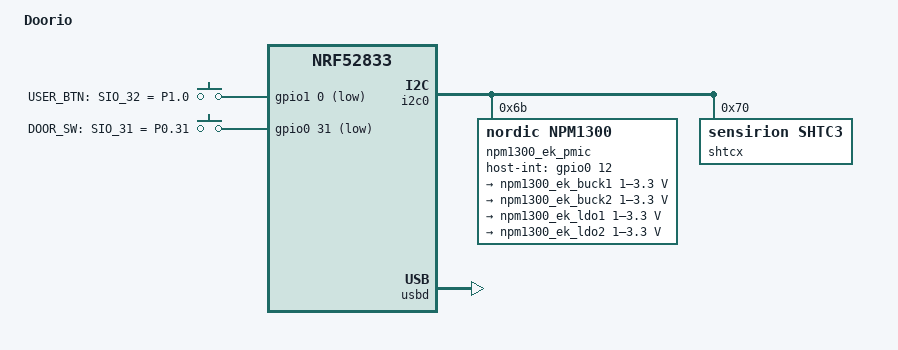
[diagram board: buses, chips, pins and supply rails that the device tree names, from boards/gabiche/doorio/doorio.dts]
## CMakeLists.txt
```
# Copyright (c) 2023 Nordic Semiconductor ASA
# SPDX-License-Identifier: LicenseRef-Nordic-5-Clause

cmake_minimum_required(VERSION 3.20.0)

# set(SHIELD npm1300_ek)

find_package(Zephyr REQUIRED HINTS $ENV{ZEPHYR_BASE})

project(doorio)

add_subdirectory(src)
```

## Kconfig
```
# SPDX-License-Identifier: Apache-2.0
#
# This Kconfig file is picked by the Zephyr build system because it is defined
# as the module Kconfig entry point (see zephyr/module.yml). You can browse
# module options by going to Zephyr -> Modules in Kconfig.
```

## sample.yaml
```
# Copyright (c) 2023 Nordic Semiconductor ASA
# SPDX-License-Identifier: LicenseRef-Nordic-5-Clause
sample:
  name: nPM1300 one button

common:
  integration_platforms:
    - nrf52dk_nrf52832
    - nrf52840dk_nrf52840
    - nrf5340dk_nrf5340_cpuapp
    - nrf9160dk_nrf9160
  platform_allow: nrf52dk_nrf52832 nrf52840dk_nrf52840 nrf5340dk_nrf5340_cpuapp nrf9160dk_nrf9160
  tags: pmic

tests:
  samples.npm1300_one_button:
    platform_allow: nrf52dk_nrf52832 nrf52840dk_nrf52840 nrf5340dk_nrf5340_cpuapp
    harness: console
    harness_config:
      fixture: nPM1300_setup_eng_b
      type: multi_line
      ordered: true
      regex:
        - "PMIC device ok"

  samples.npm1300_one_button_compile:
    platform_allow: nrf9160dk_nrf9160
    harness: shield
    tags: shield
    extra_args: SHIELD=npm1300_ek
```

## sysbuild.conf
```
SB_CONFIG_BOOTLOADER_MCUBOOT=y
# SB_CONFIG_MCUBOOT_MODE_SINGLE_APP=n
```

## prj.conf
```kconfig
# Copyright (c) 2023 Nordic Semiconductor ASA
# SPDX-License-Identifier: LicenseRef-Nordic-5-Clause
CONFIG_GPIO=y
CONFIG_LED=y
CONFIG_REGULATOR=y
CONFIG_SENSOR=y
CONFIG_I2C=y

# https://docs.zephyrproject.org/latest/services/pm/index.html
# https://docs.zephyrproject.org/latest/services/pm/device.html
CONFIG_PM=y
CONFIG_PM_DEVICE=y
# CONFIG_PM_DEVICE_RUNTIME=y
CONFIG_POWEROFF=y

# CONFIG_NRF_FUEL_GAUGE=y

CONFIG_LOG=y
CONFIG_CBPRINTF_FP_SUPPORT=y
# CONFIG_MAIN_STACK_SIZE=2048

# CONFIG_SHELL=y
# CONFIG_I2C_SHELL=y

CONFIG_STDOUT_CONSOLE=y
CONFIG_USB_DEVICE_STACK=y
CONFIG_USB_DEVICE_INITIALIZE_AT_BOOT=n
CONFIG_UART_LINE_CTRL=y
CONFIG_USB_DEVICE_PRODUCT="basement"
CONFIG_USB_DEVICE_MANUFACTURER="denerd"
CONFIG_USB_DEVICE_PID=0x00310
CONFIG_USB_DRIVER_LOG_LEVEL_ERR=y
CONFIG_USB_DEVICE_LOG_LEVEL_ERR=y

CONFIG_BT_DEVICE_NAME="basement"
CONFIG_BT=y
CONFIG_BT_PERIPHERAL=y
# CONFIG_BT_EXT_ADV=y

# Enable MCUMGR 
CONFIG_MCUMGR=y

# MCUMGR over Bluetooth "all in one" option
CONFIG_NCS_SAMPLE_MCUMGR_BT_OTA_DFU=y
```

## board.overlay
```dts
/*
 * Copyright (c) 2023 Nordic Semiconductor ASA
 *
 * SPDX-License-Identifier: LicenseRef-Nordic-5-Clause
 */

// #include <dt-bindings/regulator/npm1300.h>

/ {
	// https: //devzone.nordicsemi.com/f/nordic-q-a/108807/nrf5340-zephyr-cannot-disable-led-node
	aliases {
		sw0 = &button1;
		sw1 = &button2;
		/delete-property/ led2;
		/delete-property/ led3;
		/delete-property/ mcuboot-led0;
	};
	chosen {
		zephyr,console = &cdc_acm_uart;
	};
	// /delete-node/ leds;
};

&led1 {
	gpios = <&gpio0 14 GPIO_ACTIVE_HIGH>;
};


&i2c0 {
	shtcx: shtc3@70 {
		compatible = "sensirion,shtc3", "sensirion,shtcx";
		reg = <0x70>;
		measure-mode = "normal";
		clock-stretching;
	};
};

// &i2c0_default {
	//     group1 {
		//         bias-pull-up;
	//     };
// };

&zephyr_udc0 {
	cdc_acm_uart: cdc_acm_uart0 {
		compatible = "zephyr,cdc-acm-uart";
		status = "okay";
	};
};

// USER_BTN: SIO_32 = P1.0
&button1 {
	gpios = <&gpio1 0 GPIO_ACTIVE_LOW>;
};

// DOOR_SW: SIO_31 = P0.31
&button2 {
	gpios = <&gpio0 31 (GPIO_ACTIVE_LOW | GPIO_PULL_UP)>;
	// gpios = <&gpio0 31 (GPIO_ACTIVE_HIGH | GPIO_PULL_UP)>;
};

&gpio0 {
	wakeup-source;
};

&gpio1 {
	wakeup-source;
};
```

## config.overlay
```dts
/*
 * Copyright (C) 2023 Nordic Semiconductor ASA
 * SPDX-License-Identifier: Apache-2.0
 */

#include <dt-bindings/regulator/npm1300.h>
#include <zephyr/dt-bindings/input/input-event-codes.h>

&i2c0 {
    npm1300_ek_pmic: pmic@6b {
        compatible = "nordic,npm1300";
        reg = <0x6b>;

        host-int-gpios = <&gpio0 12 0>;
        pmic-int-pin = <1>;
        // long-press-reset = "one-button";
        // ship-to-active-time = <96>;


        npm1300_ek_gpio: gpio-controller {
            compatible = "nordic,npm1300-gpio";
            gpio-controller;
            #gpio-cells = <2>;
            ngpios = <5>;
        };

        npm1300_ek_regulators: regulators {
            compatible = "nordic,npm1300-regulator";


            npm1300_ek_buck1: BUCK1 {
                regulator-min-microvolt = <1000000>;
                regulator-max-microvolt = <3300000>;

                retention-microvolt = <1000000>;
            };

            npm1300_ek_buck2: BUCK2 {
                regulator-min-microvolt = <1000000>;
                regulator-max-microvolt = <3300000>;

                retention-microvolt = <3000000>;
            };



            npm1300_ek_ldo1: LDO1 {
                regulator-initial-mode = <NPM1300_LDSW_MODE_LDSW>;

                regulator-min-microvolt = <1000000>;
                regulator-max-microvolt = <3300000>;
                // soft-start-microamp = <20000>;
            };



            npm1300_ek_ldo2: LDO2 {
                regulator-min-microvolt = <1000000>;
                regulator-max-microvolt = <3300000>;
                regulator-initial-mode = <NPM1300_LDSW_MODE_LDSW>;
                // soft-start-microamp = <20000>;
            };

        };


        npm1300_ek_charger: charger {
            compatible = "nordic,npm1300-charger";
            term-microvolt = <4200000>;
            term-warm-microvolt = <4000000>;
            // term-current-percent = <10>;
            current-microamp = <100000>;
            // trickle-microvolt = <2500000>;
            dischg-limit-microamp = <1340000>;
            vbus-limit-microamp = <100000>;
            thermistor-ohms = <10000>;
            thermistor-beta = <3380>;
            // disable-recharge;
            charging-enable;
        };


        npm1300_ek_leds: leds {
            compatible = "nordic,npm1300-led";
            nordic,led0-mode = "host";
            nordic,led1-mode = "charging";
            nordic,led2-mode = "host";
        };

    };
};
```

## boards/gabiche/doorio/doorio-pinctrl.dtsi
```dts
&pinctrl {
    uart0_default: uart0_default {
        group1 {
            psels = <NRF_PSEL(UART_TX, 0, 6)>,
                    <NRF_PSEL(UART_RX, 0, 8)>,
                    <NRF_PSEL(UART_RTS, 0, 5)>,
                    <NRF_PSEL(UART_CTS, 0, 7)>;
        };
    };

    uart0_sleep: uart0_sleep {
        group1 {
            psels = <NRF_PSEL(UART_TX, 0, 6)>,
                    <NRF_PSEL(UART_RX, 0, 8)>,
                    <NRF_PSEL(UART_RTS, 0, 5)>,
                    <NRF_PSEL(UART_CTS, 0, 7)>;
            low-power-enable;
        };
    };

    i2c0_default: i2c0_default {
        group1 {
            psels = <NRF_PSEL(TWIM_SDA, 0, 26)>,
                    <NRF_PSEL(TWIM_SCL, 0, 27)>;
        };
    };

    i2c0_sleep: i2c0_sleep {
        group1 {
            psels = <NRF_PSEL(TWIM_SDA, 0, 26)>,
                    <NRF_PSEL(TWIM_SCL, 0, 27)>;
            low-power-enable;
        };
    };
};
```

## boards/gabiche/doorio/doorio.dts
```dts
/dts-v1/;
#include <nordic/nrf52833_qiaa.dtsi>
#include "doorio-pinctrl.dtsi"

#include <dt-bindings/regulator/npm1300.h>
#include <zephyr/dt-bindings/input/input-event-codes.h>

/ {
	model = "Doorio";
	compatible = "gabiche,doorio";

	chosen {
		zephyr,console = &cdc_acm_uart;
		zephyr,uart-mcumgr = &cdc_acm_uart;

		zephyr,sram = &sram0;
		zephyr,flash = &flash0;
		zephyr,code-partition = &slot0_partition;
	};

	// leds {
		//     compatible = "gpio-leds";

		//     led1: led_1 {
			//         gpios = <&gpio0 14 GPIO_ACTIVE_HIGH>;
			//         label = "LED 1";
		//     };
	// };

	buttons {
		compatible = "gpio-keys";

		sw0: button_1 {
			gpios = <&gpio1 0 GPIO_ACTIVE_LOW>;
			label = "USER_BTN: SIO_32 = P1.0";
			zephyr,code = <INPUT_KEY_0>;
		};

		sw1: button_2 {
			gpios = <&gpio0 31 (GPIO_ACTIVE_LOW | GPIO_PULL_UP)>;
			label = "DOOR_SW: SIO_31 = P0.31";
			zephyr,code = <INPUT_KEY_1>;
		};

	};
};

&gpiote {
	status = "okay";
};

&gpio0 {
	status = "okay";
	wakeup-source;
};

&gpio1 {
	status = "okay";

};


&uart0 {
	compatible = "nordic,nrf-uart";
	current-speed = <115200>;
	status = "disabled";
	pinctrl-0 = <&uart0_default>;
	pinctrl-1 = <&uart0_sleep>;
	pinctrl-names = "default", "sleep";
};

&i2c0 {
	compatible = "nordic,nrf-twi";
	status = "okay";

	pinctrl-0 = <&i2c0_default>;
	pinctrl-1 = <&i2c0_sleep>;
	pinctrl-names = "default", "sleep";


	npm1300_ek_pmic: pmic@6b {
		compatible = "nordic,npm1300";
		reg = <0x6b>;
		// zephyr,pm-device-runtime-auto;

		host-int-gpios = <&gpio0 12 0>;
		pmic-int-pin = <1>;
		/* The driver defaults to "one-button", where holding SHPHLD low
		 * for ~10 s power-cycles every rail. */
		long-press-reset = "disabled";
		// ship-to-active-time = <96>;


		npm1300_ek_gpio: gpio-controller {
			compatible = "nordic,npm1300-gpio";
			gpio-controller;
			#gpio-cells = <2>;
			ngpios = <5>;
		};

		npm1300_ek_regulators: regulators {
			compatible = "nordic,npm1300-regulator";


			npm1300_ek_buck1: BUCK1 {
				regulator-min-microvolt = <1000000>;
				regulator-max-microvolt = <3300000>;

				retention-microvolt = <1000000>;
			};

			npm1300_ek_buck2: BUCK2 {
				regulator-min-microvolt = <1000000>;
				regulator-max-microvolt = <3300000>;

				retention-microvolt = <3000000>;
			};



			npm1300_ek_ldo1: LDO1 {
				regulator-initial-mode = <NPM1300_LDSW_MODE_LDSW>;

				regulator-min-microvolt = <1000000>;
				regulator-max-microvolt = <3300000>;
				// soft-start-microamp = <20000>;
			};



			npm1300_ek_ldo2: LDO2 {
				regulator-min-microvolt = <1000000>;
				regulator-max-microvolt = <3300000>;
				regulator-initial-mode = <NPM1300_LDSW_MODE_LDSW>;
				// soft-start-microamp = <20000>;
				/* Load switch feeding the buzzer: force it off at boot in
				 * case it was left on. */
				regulator-boot-off;
			};

		};


		npm1300_ek_charger: charger {
			compatible = "nordic,npm1300-charger";
			term-microvolt = <4200000>;
			term-warm-microvolt = <4000000>;
			// term-current-percent = <10>;
			current-microamp = <100000>;
			// trickle-microvolt = <2500000>;
			dischg-limit-microamp = <1340000>;
			vbus-limit-microamp = <100000>;
			thermistor-ohms = <10000>;
			thermistor-beta = <3380>;
			// disable-recharge;
			charging-enable;
		};


		npm1300_ek_leds: leds {
			compatible = "nordic,npm1300-led";
			nordic,led0-mode = "host";
			nordic,led1-mode = "charging";
			nordic,led2-mode = "host";
		};

	};

	shtcx: shtc3@70 {
		compatible = "sensirion,shtc3", "sensirion,shtcx";
		reg = <0x70>;
		measure-mode = "normal";
		clock-stretching;
	};
};

zephyr_udc0: &usbd {
	compatible = "nordic,nrf-usbd";
	status = "okay";

	cdc_acm_uart: cdc_acm_uart0 {
		compatible = "zephyr,cdc-acm-uart";
		status = "okay";
	};
};

&flash0 {
	partitions {
		compatible = "fixed-partitions";
		#address-cells = <1>;
		#size-cells = <1>;

		boot_partition: partition@0 {
			label = "mcuboot";
			reg = <0x00000000 DT_SIZE_K(48)>;
		};

		slot0_partition: partition@c000 {
			label = "image-0";
			reg = <0x0000c000 DT_SIZE_K(220)>;
		};

		slot1_partition: partition@43000 {
			label = "image-1";
			reg = <0x00043000 DT_SIZE_K(220)>;
		};

		storage_partition: partition@7a000 {
			label = "storage";
			reg = <0x0007a000 DT_SIZE_K(24)>;
		};
	};
};
```

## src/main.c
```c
/*
 * Basement temperature and humidity sensor.
 *
 * Reads the SHTC3 every MEASUREMENT_INTERVAL and republishes the result as a
 * BTHome v2 advertisement for Home Assistant. Advertising stays connectable so
 * that OTA DFU remains available at any time.
 */

#include <stdlib.h>
#include <zephyr/device.h>
#include <zephyr/dfu/mcuboot.h>
#include <zephyr/drivers/gpio.h>
#include <zephyr/drivers/hwinfo.h>
#include <zephyr/drivers/led.h>
#include <zephyr/drivers/mfd/npm1300.h>
#include <zephyr/drivers/regulator.h>
#include <zephyr/drivers/sensor.h>
#include <zephyr/drivers/sensor/npm1300_charger.h>
#include <zephyr/dt-bindings/regulator/npm1300.h>
#include <zephyr/kernel.h>
#include <zephyr/pm/pm.h>
#include <zephyr/pm/policy.h>
#include <zephyr/sys/printk.h>
#include <zephyr/sys/util.h>
#include <zephyr/usb/usb_device.h>
#include <zephyr/usb/usbd.h>

#include "bluetooth.h"
#include "charger.h"
#include "redef.h"

#define PWR_BTN_MS 1000

/* How often the SHTC3 is read and the advertisement refreshed. A basement does
 * not move fast, so this is mostly a battery-life knob. */
#define MEASUREMENT_INTERVAL K_MINUTES(5)

// For LEDs, check config.overlay: only controllable if mode = "host"
#define NPM_RED_LED 0
#define NPM_BLUE_LED 1
#define NPM_GREEN_LED 2

// ===================== Devicetree nodes ======================

const struct device* pmic = DEVICE_DT_GET(DT_NODELABEL(npm1300_ek_pmic));
const struct device* leds = DEVICE_DT_GET(DT_NODELABEL(npm1300_ek_leds));
const struct device* regulators =
    DEVICE_DT_GET(DT_NODELABEL(npm1300_ek_regulators));
const struct device* charger = DEVICE_DT_GET(DT_NODELABEL(npm1300_ek_charger));
const struct device* sht = DEVICE_DT_GET(DT_NODELABEL(shtcx));
struct gpio_dt_spec user_btn = GPIO_DT_SPEC_GET(DT_NODELABEL(sw0), gpios);

volatile bool vbus_connected;

/* Given by the user button to force a reading without waiting out the
 * interval, which is handy when checking the sensor against a reference. */
static K_SEM_DEFINE(measure_now, 0, 1);
static struct gpio_callback user_btn_cb_data;

// ===================== Charger configuration ======================

void npm_event_cb(const struct device* dev, struct gpio_callback* cb,
                  uint32_t pins) {
  static int press_t;

  if (pins & BIT(NPM1300_EVENT_SHIPHOLD_PRESS)) {
    printk("Power button pressed\n");
    press_t = k_uptime_get();
  }

  if (pins & BIT(NPM1300_EVENT_SHIPHOLD_RELEASE)) {
    press_t = k_uptime_get() - press_t;

    if (press_t > PWR_BTN_MS) {
      if (vbus_connected) {
        printk("Ship mode entry not possible with USB connected\n");
      } else {
        // regulator_parent_ship_mode(regulators);
      }
      printk("Short press\n");
    }
  }

  if (pins & BIT(NPM1300_EVENT_VBUS_DETECTED)) {
    printk("Vbus connected\n");
    led_on(leds, NPM_RED_LED);
    vbus_connected = true;
    int ret = usb_enable(NULL);
    if (ret != 0) {
      printk("Failed to enable USB\n");
    }
  }

  if (pins & BIT(NPM1300_EVENT_VBUS_REMOVED)) {
    printk("Vbus removed\n");
    led_off(leds, NPM_RED_LED);
    vbus_connected = false;
    usb_disable();
  }
}

bool configure_events(void) {
  if (!device_is_ready(pmic)) {
    printk("Pmic device not ready.\n");
    return false;
  }

  if (!device_is_ready(regulators)) {
    printk("Regulator device not ready.\n");
    return false;
  }

  if (!device_is_ready(charger)) {
    printk("Charger device not ready.\n");
    return false;
  }

  const struct npm1300_charger_config* const config = charger->config;

  int ret = mfd_npm1300_reg_write(config->mfd, 0x03, 0x06, 2);
  if (ret != 0) {
    printk("Failed to disable charger thermal monitoring\n");
  }

  static struct gpio_callback event_cb;

  gpio_init_callback(
      &event_cb, npm_event_cb,
      BIT(NPM1300_EVENT_SHIPHOLD_PRESS) | BIT(NPM1300_EVENT_SHIPHOLD_RELEASE) |
          BIT(NPM1300_EVENT_VBUS_DETECTED) | BIT(NPM1300_EVENT_VBUS_REMOVED));

  mfd_npm1300_add_callback(pmic, &event_cb);

  /* Initialise vbus detection status */
  struct sensor_value val;
  ret = sensor_attr_get(charger, SENSOR_CHAN_CURRENT, SENSOR_ATTR_UPPER_THRESH,
                        &val);

  if (ret < 0) {
    return false;
  }

  vbus_connected = (val.val1 != 0) || (val.val2 != 0);
  printk("Vbus connected: %d\n", vbus_connected);

  if (vbus_connected) {
    led_on(leds, NPM_RED_LED);
    usb_enable(NULL);
  }

  return true;
}

// ===================== Reset diagnostics ======================

/* nPM1300 ERRLOG block, from the nPM1300 product specification. RSTCAUSE
 * survives the PMIC's own power cycle and says why it restarted the rails. */
#define NPM1300_ERRLOG_BASE 0x0EU
#define NPM1300_ERRLOG_TASKCLR 0x00U
#define NPM1300_ERRLOG_RSTCAUSE 0x03U

static void print_reset_cause(void) {
  uint32_t cause = 0;

  /* The nRF only sees its own side: a PMIC power cycle shows up here as a
   * power-on or brownout reset, hence the PMIC log below. */
  if (hwinfo_get_reset_cause(&cause) == 0) {
    printk("nRF reset cause 0x%08x:%s%s%s%s%s%s\n", cause,
           (cause & RESET_PIN) ? " pin" : "",
           (cause & RESET_SOFTWARE) ? " software" : "",
           (cause & RESET_BROWNOUT) ? " brownout" : "",
           (cause & RESET_POR) ? " power-on" : "",
           (cause & RESET_WATCHDOG) ? " watchdog" : "",
           (cause & RESET_CPU_LOCKUP) ? " lockup" : "");
    hwinfo_clear_reset_cause();
  }

  uint8_t rst;
  if (mfd_npm1300_reg_read(pmic, NPM1300_ERRLOG_BASE, NPM1300_ERRLOG_RSTCAUSE,
                           &rst) == 0) {
    printk("nPM1300 reset cause 0x%02x:%s%s%s%s%s%s%s\n", rst,
           (rst & BIT(0)) ? " ship-exit" : "",
           (rst & BIT(1)) ? " boot-monitor" : "",
           (rst & BIT(2)) ? " watchdog" : "",
           (rst & BIT(3)) ? " long-press" : "",
           (rst & BIT(4)) ? " thermal" : "",
           (rst & BIT(5)) ? " vsys-low" : "",
           (rst & BIT(6)) ? " software" : "");
    mfd_npm1300_reg_write(pmic, NPM1300_ERRLOG_BASE, NPM1300_ERRLOG_TASKCLR,
                          1U);
  } else {
    printk("nPM1300 reset cause unreadable\n");
  }
}

// ===================== Measurement ======================

static void user_btn_pressed(const struct device* dev,
                             struct gpio_callback* cb, uint32_t pins) {
  k_sem_give(&measure_now);
}

static bool measure_and_publish(void) {
  struct sensor_value temp, hum;
  bool ok = false;

  /* The activity LED is only worth its current draw while on USB; on battery
   * it would be a few mA for nobody to see in a dark basement. */
  if (vbus_connected) {
    led_on(leds, NPM_GREEN_LED);
  }

  int err = sensor_sample_fetch(sht);
  if (err) {
    printk("Failed to fetch data from SHT sensor (%d)\n", err);
  } else {
    err = sensor_channel_get(sht, SENSOR_CHAN_AMBIENT_TEMP, &temp);
    if (err) {
      printk("Failed to read temperature channel (%d)\n", err);
    }
    err = sensor_channel_get(sht, SENSOR_CHAN_HUMIDITY, &hum);
    if (err) {
      printk("Failed to read humidity channel (%d)\n", err);
    }

    double ftemp = sensor_value_to_double(&temp);
    double fhumd = sensor_value_to_double(&hum);
    int soc = charger_get_soc(charger);
    if (soc < 0) {
      soc = 0;
    }

    printf("SHT: %.2f Cel; %.2f %%RH; SoC %d %%\n", ftemp, fhumd, soc);

    bt_update_all(ftemp, fhumd, vbus_connected, (uint8_t)soc);
    ok = (bt_publish() == 0);
  }

  if (vbus_connected) {
    led_off(leds, NPM_GREEN_LED);
  }

  return ok;
}

// ===================== Main code ======================

int main(void) {
  int ret;

  printk("Initializing...\n");
  print_reset_cause();

  ret = ble_init();
  if (ret) {
    printk("Failed to initialize BLE (%d)\n", ret);
    return 0;
  }

  if (!device_is_ready(leds)) {
    printk("Error: led device is not ready\n");
    return 0;
  }

  // FOR CHARGING:
  // https://devzone.nordicsemi.com/f/nordic-q-a/105379/npm1300-is-not-charging---is-ntc-to-gnd-the-reason
  if (!configure_events()) {
    printk("Error: could not configure PMIC\n");
    return 0;
  }

  if (!gpio_is_ready_dt(&user_btn)) {
    printk("Error: button device %s is not ready\n", user_btn.port->name);
    return 0;
  }

  if (!device_is_ready(sht)) {
    printk("Device %s is not ready\n", sht->name);
    return 0;
  }

  // ========= User Button =========
  ret = gpio_pin_configure_dt(&user_btn, GPIO_INPUT);
  if (ret != 0) {
    printk("Error %d: failed to configure %s pin %d\n", ret,
           user_btn.port->name, user_btn.pin);
    return 0;
  }

  ret = gpio_pin_interrupt_configure_dt(&user_btn, GPIO_INT_EDGE_TO_ACTIVE);
  if (ret != 0) {
    printk("Error %d: failed to configure interrupt on %s pin %d\n", ret,
           user_btn.port->name, user_btn.pin);
    return 0;
  }

  gpio_init_callback(&user_btn_cb_data, user_btn_pressed, BIT(user_btn.pin));
  gpio_add_callback(user_btn.port, &user_btn_cb_data);

  for (int i = 0; i < 3; i++) {
    led_on(leds, NPM_GREEN_LED);
    k_msleep(250);
    led_off(leds, NPM_GREEN_LED);
    k_msleep(250);
  }

  /* Publish once straight away so Home Assistant does not have to wait a full
   * interval to discover the device. */
  bool first_reading_ok = measure_and_publish();

  /* An image installed over DFU boots in the "test" state, and MCUboot swaps
   * the previous one back on the next reset unless it is confirmed. Confirm
   * only after a reading has actually gone out over the air, so a build that
   * cannot read the sensor or advertise still rolls itself back. */
  if (first_reading_ok && !boot_is_img_confirmed()) {
    ret = boot_write_img_confirmed();
    if (ret) {
      printk("Failed to confirm image (%d)\n", ret);
    } else {
      printk("Image confirmed, rollback disarmed\n");
    }
  }

  while (1) {
    /* Wakes early on a button press, otherwise once per interval. Either way
     * the next thing to do is take a reading. */
    k_sem_take(&measure_now, MEASUREMENT_INTERVAL);
    measure_and_publish();
  }
}
```

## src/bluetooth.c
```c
/*
 * Copyright (c) 2023 Nordic Semiconductor ASA
 *
 * SPDX-License-Identifier: Apache-2.0
 */

#include "bluetooth.h"

#include <zephyr/bluetooth/bluetooth.h>
#include <zephyr/bluetooth/conn.h>
#include <zephyr/bluetooth/hci.h>
#include <zephyr/bluetooth/uuid.h>
#include <zephyr/sys/byteorder.h>

#define SERVICE_UUID 0xfcd2 /* BTHome service UUID */

/* BTHome v2 object ids, kept in ascending order inside the payload as the
 * specification recommends. */
#define BTHOME_ID_PACKET 0x00
#define BTHOME_ID_BATTERY 0x01
#define BTHOME_ID_TEMP 0x02
#define BTHOME_ID_HUMIDITY 0x03
#define BTHOME_ID_CHARGING 0x16

#define IDX_PACKET 4    /* Packet id counter */
#define IDX_BATT 6      /* State of charge, percent */
#define IDX_TEMP 8      /* Temperature, little endian sint16 */
#define IDX_HUMD 11     /* Humidity, little endian uint16 */
#define IDX_CHARGING 14 /* Charging state */

static uint8_t service_data[] = {
    BT_UUID_16_ENCODE(SERVICE_UUID),
    0x40, /* BTHome v2, unencrypted, regular updates */
    BTHOME_ID_PACKET,
    0x00, /* Counter, incremented on every publish */
    BTHOME_ID_BATTERY,
    100, /* Percent */
    BTHOME_ID_TEMP,
    0x00, /* Low byte, sint16, 0.01 degC */
    0x00, /* High byte */
    BTHOME_ID_HUMIDITY,
    0x00, /* Low byte, uint16, 0.01 %RH */
    0x00, /* High byte */
    BTHOME_ID_CHARGING,
    0x00, /* 0 = not charging, 1 = charging */
};

static struct bt_data ad[] = {
    BT_DATA_BYTES(BT_DATA_FLAGS, BT_LE_AD_GENERAL | BT_LE_AD_NO_BREDR),
    BT_DATA(BT_DATA_NAME_COMPLETE, CONFIG_BT_DEVICE_NAME,
            sizeof(CONFIG_BT_DEVICE_NAME) - 1),
    BT_DATA(BT_DATA_SVC_DATA16, service_data, ARRAY_SIZE(service_data))};

static void connected(struct bt_conn* conn, uint8_t err) {
  if (err) {
    printk("Connection failed, err 0x%02x %s\n", err, bt_hci_err_to_str(err));
    return;
  }

  printk("Connected\n");
}

static void disconnected(struct bt_conn* conn, uint8_t reason) {
  printk("Disconnected, reason 0x%02x %s\n", reason, bt_hci_err_to_str(reason));
}

BT_CONN_CB_DEFINE(conn_callbacks) = {
    .connected = connected,
    .disconnected = disconnected,
};

static void bt_ready(int err) {
  if (err) {
    printk("Bluetooth init failed (err %d)\n", err);
    return;
  }

  /* Start advertising */
  // MUST BE BT_LE_ADV_OPT_CONNECTABLE to be able to DFU

  const struct bt_le_adv_param* adv_params =
      BT_LE_ADV_PARAM(BT_LE_ADV_OPT_CONNECTABLE, BT_GAP_ADV_SLOW_INT_MIN,
                      BT_GAP_ADV_SLOW_INT_MAX, NULL);

  err = bt_le_adv_start(adv_params, ad, ARRAY_SIZE(ad), NULL, 0);
  if (err) {
    printk("Advertising failed to start (err %d)\n", err);
    return;
  }
}

void ble_disable(void) { bt_disable(); }

int ble_init(void) {
  int err;

  /* Initialize the Bluetooth Subsystem */
  err = bt_enable(bt_ready);
  if (err) {
    printk("Bluetooth init failed (err %d)\n", err);
    return err;
  }

  return 0;
}

void bt_update_temp(float temp) {
  /* BTHome temperature is a sint16 in 0.01 degC steps. */
  int16_t raw = (int16_t)(temp * 100.0f);
  sys_put_le16((uint16_t)raw, &service_data[IDX_TEMP]);
}

void bt_update_humidity(float hm) {
  /* BTHome humidity is a uint16 in 0.01 %RH steps. */
  if (hm < 0.0f) {
    hm = 0.0f;
  } else if (hm > 100.0f) {
    hm = 100.0f;
  }
  sys_put_le16((uint16_t)(hm * 100.0f), &service_data[IDX_HUMD]);
}

void bt_update_battery(bool charging, uint8_t batt) {
  service_data[IDX_BATT] = batt;
  service_data[IDX_CHARGING] = charging ? 1 : 0;
}

void bt_update_all(float temp, float hm, bool charging, uint8_t batt) {
  bt_update_temp(temp);
  bt_update_humidity(hm);
  bt_update_battery(charging, batt);
}

int bt_publish() {
  /* Home Assistant uses the packet id to drop duplicated adverts and to spot
   * updates it missed, so it has to change on every new reading. */
  service_data[IDX_PACKET]++;

  int err = bt_le_adv_update_data(ad, ARRAY_SIZE(ad), NULL, 0);
  if (err) {
    printk("Failed to update advertising data (err %d)\n", err);
  }
  return err;
}
```

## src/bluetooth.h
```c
/*
 * BTHome v2 advertiser for the basement temperature/humidity sensor.
 *
 * The sensor is a pure broadcaster as far as Home Assistant is concerned, but
 * advertising stays connectable so that MCUmgr OTA DFU keeps working.
 */

#ifndef __BLUETOOTH_H__
#define __BLUETOOTH_H__

#include <stdbool.h>
#include <stdint.h>

void ble_disable(void);
int ble_init(void);

/* Each setter only stages a value in the advertising payload; nothing is sent
 * over the air until bt_publish() is called. */
void bt_update_temp(float temp);
void bt_update_humidity(float hm);
void bt_update_battery(bool charging, uint8_t batt);
void bt_update_all(float temp, float hm, bool charging, uint8_t batt);

/* Increments the BTHome packet id and pushes the payload to the advertiser. */
int bt_publish(void);

#endif /* __BLUETOOTH_H__ */
```

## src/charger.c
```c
/*
 * Copyright (c) 2023 Nordic Semiconductor ASA
 * SPDX-License-Identifier: LicenseRef-Nordic-5-Clause
 */

#include "charger.h"

#include <stdlib.h>
#include <zephyr/drivers/sensor.h>
#include <zephyr/drivers/sensor/npm1300_charger.h>
#include <zephyr/kernel.h>
#include <zephyr/sys/printk.h>
#include <zephyr/sys/util.h>

/* nPM1300 CHARGER.BCHGCHARGESTATUS.CONSTANTCURRENT register bitmask */
#define NPM1300_CHG_STATUS_CC_MASK BIT(3)

static int read_sensors(const struct device *charger, float *voltage,
                        float *current, int32_t *chg_status) {
  struct sensor_value value;
  int ret;

  ret = sensor_sample_fetch(charger);
  if (ret < 0) {
    return ret;
  }

  sensor_channel_get(charger, SENSOR_CHAN_GAUGE_VOLTAGE, &value);
  *voltage = sensor_value_to_float(&value);

  //   sensor_channel_get(charger, SENSOR_CHAN_GAUGE_TEMP, &value);
  //   *temp = (float)value.val1 + ((float)value.val2 / 1000000);

  sensor_channel_get(charger, SENSOR_CHAN_GAUGE_AVG_CURRENT, &value);
  *current = sensor_value_to_float(&value);

  sensor_channel_get(charger, SENSOR_CHAN_NPM1300_CHARGER_STATUS, &value);
  *chg_status = value.val1;

  return 0;
}

int charger_get_soc(const struct device *charger) {
  float voltage = 0;
  float current = 0;
  //   float temp;
  float soc = 0;
  int32_t chg_status;
  bool cc_charging;
  int ret;

  ret = read_sensors(charger, &voltage, &current, &chg_status);
  if (ret < 0) {
    printk("Error: Could not read from charger device\n");
    return ret;
  }

  cc_charging = (chg_status & NPM1300_CHG_STATUS_CC_MASK) != 0;

  soc = ((double)voltage - 3.0) * 100 / (4.2 - 3.0);
  if (soc < 0) {
    soc = 0;
  } else if (soc > 100) {
    soc = 100;
  }

  printk("V: %.3f, I: %.3f, ", (double)voltage, (double)current);
  printk("SoC: %.2f\n", (double)soc);

  return soc;
}
```

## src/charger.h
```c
/*
 * Copyright (c) 2023 Nordic Semiconductor ASA
 * SPDX-License-Identifier: LicenseRef-Nordic-5-Clause
 */

#ifndef __FUEL_GAUGE_H__
#define __FUEL_GAUGE_H__

#include <zephyr/device.h>

int charger_get_soc(const struct device *charger);

#endif /* __FUEL_GAUGE_H__ */
```

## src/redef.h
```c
#include <zephyr/device.h>

#include <stdio.h>
#include <stdint.h>
#include <stdbool.h>

#define CHGR_BASE 0x03U

struct npm1300_charger_config
{
    const struct device *mfd;
    int32_t term_microvolt;
    int32_t term_warm_microvolt;
    int32_t current_microamp;
    int32_t dischg_limit_microamp;
    int32_t vbus_limit_microamp;
    int32_t temp_thresholds[4U];
    int32_t dietemp_thresholds[2U];
    uint32_t thermistor_ohms;
    uint16_t thermistor_beta;
    uint8_t thermistor_idx;
    uint8_t trickle_sel;
    uint8_t iterm_sel;
    bool charging_enable;
    bool vbatlow_charge_enable;
    bool disable_recharge;
};
```
